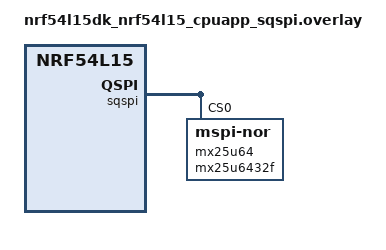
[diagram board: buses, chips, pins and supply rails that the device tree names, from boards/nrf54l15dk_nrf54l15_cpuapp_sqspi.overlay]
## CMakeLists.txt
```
# SPDX-License-Identifier: LicenseRef-Nordic-5-Clause

cmake_minimum_required(VERSION 3.20.0)
find_package(Zephyr REQUIRED HINTS $ENV{ZEPHYR_BASE})
project(spi_flash)

FILE(GLOB app_sources src/*.c)
target_sources(app PRIVATE ${app_sources})
```

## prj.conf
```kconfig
CONFIG_STDOUT_CONSOLE=y
CONFIG_FLASH=y

# Enable debug logging
CONFIG_LOG=y
CONFIG_FLASH_LOG_LEVEL_DBG=y
CONFIG_MSPI_LOG_LEVEL_DBG=y
```

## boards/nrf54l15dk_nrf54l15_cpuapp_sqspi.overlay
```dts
&pinctrl {
	sqspi_default: sqspi_default {
		group1 {
			psels = <NRF_PSEL(SDP_MSPI_SCK, 2, 1)>,
				<NRF_PSEL(SDP_MSPI_CS0, 2, 5)>,
				<NRF_PSEL(SDP_MSPI_DQ0, 2, 2)>;
			nordic,drive-mode = <NRF_DRIVE_E0E1>;
		};
		group2 {
			psels = <NRF_PSEL(SDP_MSPI_DQ1, 2, 4)>,
				<NRF_PSEL(SDP_MSPI_DQ2, 2, 3)>,
				<NRF_PSEL(SDP_MSPI_DQ3, 2, 0)>;
			nordic,drive-mode = <NRF_DRIVE_E0E1>;
			bias-pull-up;
		};
	};

	sqspi_sleep: sqspi_sleep {
		group1 {
			low-power-enable;
			psels = <NRF_PSEL(SDP_MSPI_SCK, 2, 1)>,
				<NRF_PSEL(SDP_MSPI_CS0, 2, 5)>,
				<NRF_PSEL(SDP_MSPI_DQ0, 2, 2)>,
				<NRF_PSEL(SDP_MSPI_DQ1, 2, 4)>,
				<NRF_PSEL(SDP_MSPI_DQ2, 2, 3)>,
				<NRF_PSEL(SDP_MSPI_DQ3, 2, 0)>;
		};
	};
};

&cpuflpr_vpr {
	pinctrl-0 = <&sqspi_default>;
	pinctrl-1 = <&sqspi_sleep>;
	pinctrl-names = "default", "sleep";
	interrupts = <76 NRF_DEFAULT_IRQ_PRIORITY>;
	status = "okay";
};

/ {
	reserved-memory {
		#address-cells = <1>;
		#size-cells = <1>;
		ranges;

		softperipheral_ram: memory@2003c000 {
			reg = <0x2003c000 0x4000>;
			ranges = <0 0x2003c000 0x4000>;
			#address-cells = <1>;
			#size-cells = <1>;

			sqspi: sqspi@3b40 {
				compatible = "nordic,nrf-sqspi";
				#address-cells = <1>;
				#size-cells = <0>;
				reg = <0x3b40 0x200>;
				status = "okay";
				zephyr,pm-device-runtime-auto;
			};
		};
	};
};

/delete-node/ &mx25r64;

&sqspi {
	mx25u64: mx25u6432f@0 {
		compatible = "jedec,mspi-nor";
		status = "okay";
		reg = <0>;
		jedec-id = [c2 25 37];
		quad-enable-requirements = "S1B6";
		sfdp-bfp = [
			e5 20 f3 ff  ff ff ff 07  44 eb 08 6b  08 3b 04 bb
			ee ff ff ff  ff ff 00 ff  ff ff 00 ff  0c 20 0f 52
			10 d8 00 ff  23 72 f5 00  82 ed 04 b3  44 83 42 43
			88 b8 88 b8  c0 88 b5 c8  00 be 29 ff  f0 d0 ff ff
		];
		size = <67108864>;
		has-dpd;
		t-enter-dpd = <10000>;
		t-exit-dpd = <30000>;
		t-reset-pulse = <100>;
		t-reset-recovery = <30000>;

		mspi-max-frequency = <DT_FREQ_M(50)>;
		mspi-io-mode = "MSPI_IO_MODE_QUAD_1_4_4";
		mspi-data-rate = "MSPI_DATA_RATE_SINGLE";
		mspi-hardware-ce-num = <1>;
		mspi-cpp-mode = "MSPI_CPP_MODE_0";
		mspi-endian = "MSPI_BIG_ENDIAN";
		mspi-ce-polarity = "MSPI_CE_ACTIVE_LOW";
	};
};
```

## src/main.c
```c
/*
 * Copyright (c) 2016 Intel Corporation.
 *
 * SPDX-License-Identifier: Apache-2.0
 */

#include <zephyr/kernel.h>
#include <zephyr/drivers/flash.h>
#include <zephyr/device.h>
#include <zephyr/devicetree.h>
#include <stdio.h>
#include <string.h>

#if defined(CONFIG_BOARD_ADAFRUIT_FEATHER_STM32F405)
#define SPI_FLASH_TEST_REGION_OFFSET 0xf000
#elif defined(CONFIG_BOARD_ARTY_A7_DESIGNSTART_FPGA_CORTEX_M1) || \
	defined(CONFIG_BOARD_ARTY_A7_DESIGNSTART_FPGA_CORTEX_M3)
/* The FPGA bitstream is stored in the lower 536 sectors of the flash. */
#define SPI_FLASH_TEST_REGION_OFFSET \
	DT_REG_SIZE(DT_NODE_BY_FIXED_PARTITION_LABEL(fpga_bitstream))
#elif defined(CONFIG_BOARD_NPCX9M6F_EVB) || \
	defined(CONFIG_BOARD_NPCX7M6FB_EVB)
#define SPI_FLASH_TEST_REGION_OFFSET 0x7F000
#else
#define SPI_FLASH_TEST_REGION_OFFSET 0xff000
#endif
#define SPI_FLASH_SECTOR_SIZE        4096

#if defined(CONFIG_FLASH_STM32_OSPI) || \
	defined(CONFIG_FLASH_STM32_QSPI) || \
	defined(CONFIG_FLASH_STM32_XSPI)
#define SPI_FLASH_MULTI_SECTOR_TEST
#endif

#if DT_HAS_COMPAT_STATUS_OKAY(jedec_spi_nor)
#define SPI_FLASH_COMPAT jedec_spi_nor
#elif DT_HAS_COMPAT_STATUS_OKAY(jedec_mspi_nor)
#define SPI_FLASH_COMPAT jedec_mspi_nor
#elif DT_HAS_COMPAT_STATUS_OKAY(st_stm32_qspi_nor)
#define SPI_FLASH_COMPAT st_stm32_qspi_nor
#elif DT_HAS_COMPAT_STATUS_OKAY(st_stm32_ospi_nor)
#define SPI_FLASH_COMPAT st_stm32_ospi_nor
#elif DT_HAS_COMPAT_STATUS_OKAY(st_stm32_xspi_nor)
#define SPI_FLASH_COMPAT st_stm32_xspi_nor
#elif DT_HAS_COMPAT_STATUS_OKAY(nordic_qspi_nor)
#define SPI_FLASH_COMPAT nordic_qspi_nor
#else
#define SPI_FLASH_COMPAT invalid
#endif

const uint8_t erased[] = { 0xff, 0xff, 0xff, 0xff };

/* Expected JEDEC ID for MX25U6432F: Manufacturer=0xC2, Type=0x25, Capacity=0x37 */
#define EXPECTED_MFR_ID    0xC2
#define EXPECTED_TYPE_ID   0x25
#define EXPECTED_DENSITY_ID 0x37

/* Quick erase test at a specific offset */
static bool test_erase_at_offset(const struct device *flash_dev, off_t offset)
{
	uint8_t buf[16];  /* Read more bytes to see pattern */
	int rc;

	printf("  Testing erase at offset 0x%x...\n", (unsigned int)offset);

	/* Read before erase to see what's there */
	memset(buf, 0, sizeof(buf));
	rc = flash_read(flash_dev, offset, buf, sizeof(buf));
	if (rc == 0) {
		printf("    Before: %02x %02x %02x %02x %02x %02x %02x %02x...\n",
		       buf[0], buf[1], buf[2], buf[3], buf[4], buf[5], buf[6], buf[7]);
	}

	/* Erase sector */
	rc = flash_erase(flash_dev, offset, SPI_FLASH_SECTOR_SIZE);
	if (rc != 0) {
		printf("    Erase command failed! %d\n", rc);
		return false;
	}

	/* MX25U6432F sector erase takes up to 600ms according to datasheet
	 * Use 2000ms to work around nRF MSPI driver bug where it doesn't
	 * wait for erase completion (Zephyr issue #71442)
	 */
	k_msleep(2000);

	/* Verify erase - read more bytes to see the pattern */
	memset(buf, 0, sizeof(buf));
	rc = flash_read(flash_dev, offset, buf, sizeof(buf));
	if (rc != 0) {
		printf("    Read failed! %d\n", rc);
		return false;
	}

	printf("    After:  %02x %02x %02x %02x %02x %02x %02x %02x...\n",
	       buf[0], buf[1], buf[2], buf[3], buf[4], buf[5], buf[6], buf[7]);

	if (memcmp(erased, buf, 4) == 0) {
		printf("    OK\n");
		return true;
	} else {
		printf("    FAIL (expected ff ff ff ff...)\n");
		return false;
	}
}

static bool verify_jedec_id(const struct device *flash_dev)
{
	printf("Verifying flash chip compatibility...\n");
	printf("Expected: MX25U6432F (JEDEC ID: C2 25 37)\n");
	printf("Connected device: %s\n", flash_dev->name);

	/* Check if device name contains the expected chip identifier */
	/* The device tree node name should be mx25u64 or mx25u6432f */
	if (strstr(flash_dev->name, "mx25u") == NULL &&
	    strstr(flash_dev->name, "MX25U") == NULL) {
		printf("\nERROR: Wrong flash chip detected!\n");
		printf("This code is designed for MX25U6432F only.\n");
		printf("Detected device: %s\n", flash_dev->name);
		printf("If you have MX25U6432F connected, check device tree configuration.\n");
		return false;
	}

	printf("Flash chip verification passed!\n\n");
	return true;
}

void single_sector_test(const struct device *flash_dev)
{
	const uint8_t expected[] = { 0x55, 0xaa, 0x66, 0x99 };
	const size_t len = sizeof(expected);
	uint8_t buf[sizeof(expected)];
	int rc;

	printf("\nPerform test on single sector");
	/* Write protection needs to be disabled before each write or
	 * erase, since the flash component turns on write protection
	 * automatically after completion of write and erase
	 * operations.
	 */
	printf("\nTest 1: Flash erase\n");

	/* Read current content before erase */
	memset(buf, 0, len);
	rc = flash_read(flash_dev, SPI_FLASH_TEST_REGION_OFFSET, buf, len);
	if (rc == 0) {
		printf("Before erase: 0x%02x 0x%02x 0x%02x 0x%02x\n",
		       buf[0], buf[1], buf[2], buf[3]);
	}

	/* Full flash erase if SPI_FLASH_TEST_REGION_OFFSET = 0 and
	 * SPI_FLASH_SECTOR_SIZE = flash size
	 */
	rc = flash_erase(flash_dev, SPI_FLASH_TEST_REGION_OFFSET,
			 SPI_FLASH_SECTOR_SIZE);
	if (rc != 0) {
		printf("Flash erase failed! %d\n", rc);
	} else {
		printf("Flash erase command completed (rc=%d)\n", rc);

		/* Workaround for nRF MSPI driver bug (Zephyr issue #71442)
		 * Driver doesn't wait for erase completion, so we manually wait
		 * MX25U6432F sector erase takes up to 600ms per datasheet
		 */
		printf("Waiting for erase to complete (2s delay for driver bug)...\n");
		k_msleep(2000);

		/* Check erased pattern */
		memset(buf, 0, len);
		rc = flash_read(flash_dev, SPI_FLASH_TEST_REGION_OFFSET, buf, len);
		if (rc != 0) {
			printf("Flash read failed! %d\n", rc);
			return;
		}
		printf("After erase:  0x%02x 0x%02x 0x%02x 0x%02x\n",
		       buf[0], buf[1], buf[2], buf[3]);

		if (memcmp(erased, buf, len) != 0) {
			printf("Flash erase failed at offset 0x%x got 0x%08x (expected 0xffffffff)\n",
				SPI_FLASH_TEST_REGION_OFFSET, *(uint32_t *)buf);
			printf("Byte-by-byte comparison:\n");
			for (size_t i = 0; i < len; i++) {
				printf("  Byte %zu: expected 0xff, got 0x%02x %s\n",
				       i, buf[i], (buf[i] == 0xff) ? "OK" : "FAIL");
			}

			/* Try erasing again to see if double-erase helps */
			printf("\nRetrying erase operation...\n");
			rc = flash_erase(flash_dev, SPI_FLASH_TEST_REGION_OFFSET,
					 SPI_FLASH_SECTOR_SIZE);
			if (rc != 0) {
				printf("Second erase failed! %d\n", rc);
				return;
			}
			k_msleep(2000);

			memset(buf, 0, len);
			rc = flash_read(flash_dev, SPI_FLASH_TEST_REGION_OFFSET, buf, len);
			if (rc != 0) {
				printf("Flash read after second erase failed! %d\n", rc);
				return;
			}
			printf("After 2nd erase: 0x%02x 0x%02x 0x%02x 0x%02x\n",
			       buf[0], buf[1], buf[2], buf[3]);

			if (memcmp(erased, buf, len) != 0) {
				printf("Still failed after second erase.\n");
				printf("This may indicate a hardware issue or driver bug.\n");
				return;
			}
			printf("Second erase succeeded!\n");
		} else {
			printf("Flash erase succeeded!\n");
		}
	}
	printf("\nTest 2: Flash write\n");

	printf("Attempting to write %zu bytes\n", len);
	rc = flash_write(flash_dev, SPI_FLASH_TEST_REGION_OFFSET, expected, len);
	if (rc != 0) {
		printf("Flash write failed! %d\n", rc);
		return;
	}

	memset(buf, 0, len);
	rc = flash_read(flash_dev, SPI_FLASH_TEST_REGION_OFFSET, buf, len);
	if (rc != 0) {
		printf("Flash read failed! %d\n", rc);
		return;
	}

	if (memcmp(expected, buf, len) == 0) {
		printf("Data read matches data written. Good!!\n");
	} else {
		const uint8_t *wp = expected;
		const uint8_t *rp = buf;
		const uint8_t *rpe = rp + len;

		printf("Data read does not match data written!!\n");
		while (rp < rpe) {
			printf("%08x wrote %02x read %02x %s\n",
			       (uint32_t)(SPI_FLASH_TEST_REGION_OFFSET + (rp - buf)),
			       *wp, *rp, (*rp == *wp) ? "match" : "MISMATCH");
			++rp;
			++wp;
		}
	}
}

#if defined SPI_FLASH_MULTI_SECTOR_TEST
void multi_sector_test(const struct device *flash_dev)
{
	const uint8_t expected[] = { 0x55, 0xaa, 0x66, 0x99 };
	const size_t len = sizeof(expected);
	uint8_t buf[sizeof(expected)];
	int rc;

	printf("\nPerform test on multiple consecutive sectors");

	/* Write protection needs to be disabled before each write or
	 * erase, since the flash component turns on write protection
	 * automatically after completion of write and erase
	 * operations.
	 */
	printf("\nTest 1: Flash erase\n");

	/* Full flash erase if SPI_FLASH_TEST_REGION_OFFSET = 0 and
	 * SPI_FLASH_SECTOR_SIZE = flash size
	 * Erase 2 sectors for check for erase of consequtive sectors
	 */
	rc = flash_erase(flash_dev, SPI_FLASH_TEST_REGION_OFFSET, SPI_FLASH_SECTOR_SIZE * 2);
	if (rc != 0) {
		printf("Flash erase failed! %d\n", rc);
	} else {
		/* Read the content and check for erased */
		memset(buf, 0, len);
		size_t offs = SPI_FLASH_TEST_REGION_OFFSET;

		while (offs < SPI_FLASH_TEST_REGION_OFFSET + 2 * SPI_FLASH_SECTOR_SIZE) {
			rc = flash_read(flash_dev, offs, buf, len);
			if (rc != 0) {
				printf("Flash read failed! %d\n", rc);
				return;
			}
			if (memcmp(erased, buf, len) != 0) {
				printf("Flash erase failed at offset 0x%x got 0x%x\n",
				offs, *(uint32_t *)buf);
				return;
			}
			offs += SPI_FLASH_SECTOR_SIZE;
		}
		printf("Flash erase succeeded!\n");
	}

	printf("\nTest 2: Flash write\n");

	size_t offs = SPI_FLASH_TEST_REGION_OFFSET;

	while (offs < SPI_FLASH_TEST_REGION_OFFSET + 2 * SPI_FLASH_SECTOR_SIZE) {
		printf("Attempting to write %zu bytes at offset 0x%x\n", len, offs);
		rc = flash_write(flash_dev, offs, expected, len);
		if (rc != 0) {
			printf("Flash write failed! %d\n", rc);
			return;
		}

		memset(buf, 0, len);
		rc = flash_read(flash_dev, offs, buf, len);
		if (rc != 0) {
			printf("Flash read failed! %d\n", rc);
			return;
		}

		if (memcmp(expected, buf, len) == 0) {
			printf("Data read matches data written. Good!!\n");
		} else {
			const uint8_t *wp = expected;
			const uint8_t *rp = buf;
			const uint8_t *rpe = rp + len;

			printf("Data read does not match data written!!\n");
			while (rp < rpe) {
				printf("%08x wrote %02x read %02x %s\n",
					(uint32_t)(offs + (rp - buf)),
					*wp, *rp, (*rp == *wp) ? "match" : "MISMATCH");
				++rp;
				++wp;
			}
		}
		offs += SPI_FLASH_SECTOR_SIZE;
	}
}
#endif

int main(void)
{
	const struct device *flash_dev = DEVICE_DT_GET_ONE(SPI_FLASH_COMPAT);

	if (!device_is_ready(flash_dev)) {
		printk("%s: device not ready.\n", flash_dev->name);
		return 0;
	}

	printf("\n%s SPI flash testing\n", flash_dev->name);
	printf("==========================\n");

	/* Verify that the correct flash chip (MX25U6432F) is connected */
	if (!verify_jedec_id(flash_dev)) {
		printf("\nFlash chip verification FAILED!\n");
		printf("Please connect MX25U6432F flash chip.\n");
		return -1;
	}

	/* Test erase at multiple offsets to identify if issue is location-specific */
	printf("\nTesting erase at multiple offsets:\n");
	printf("==================================\n");
	test_erase_at_offset(flash_dev, 0x0);
	test_erase_at_offset(flash_dev, 0x1000);
	test_erase_at_offset(flash_dev, 0x10000);
	test_erase_at_offset(flash_dev, 0x50000);
	test_erase_at_offset(flash_dev, 0xff000);

	single_sector_test(flash_dev);
#if defined SPI_FLASH_MULTI_SECTOR_TEST
	multi_sector_test(flash_dev);
#endif
	return 0;
}
```
